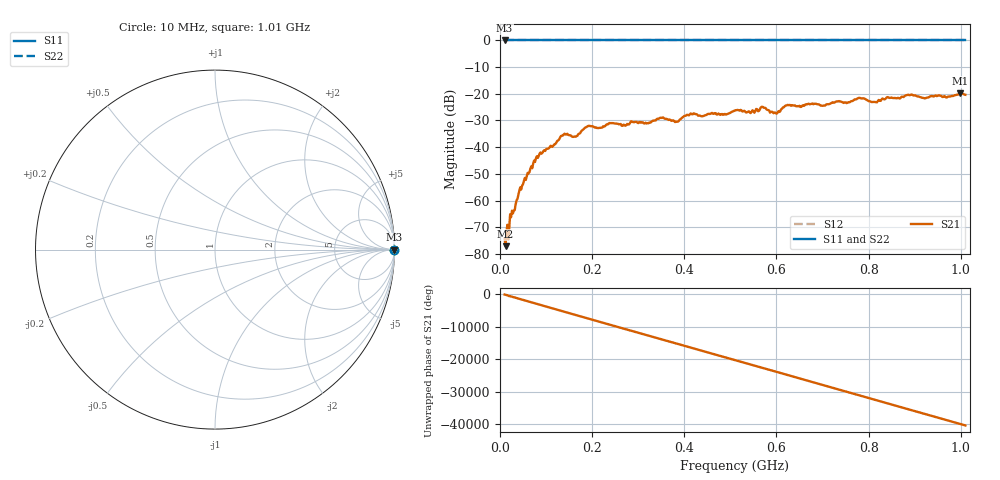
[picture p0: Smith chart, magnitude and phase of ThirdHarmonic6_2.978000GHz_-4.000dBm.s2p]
! 8/17/2025 8:27:00 AM
! C:\ANRITSUVNA\TEMP\TEMP.S2P
! CHANNEL.1
! TR.MEASUREMENT
! RAW.DATA
! RF.CORRECTION.OFF
! AVERAGING.OFF
! IF.BANDWIDTH: 5KHZ
! SWEEPTYPE:  FREQ.SWEEP(Linear)
! Reference Plane Port Info
! PORT:  PORT1  PORT2
! DISTANCE:  0  m  0  m
! TIME:  0  s  0  s
! PHASE.OFFSET:  0  deg.  0  deg.
! LOSS:  0  dB  0  dB
! REF.LOSS:  0  dB  0  dB
! REF.FREQ:  0  Hz  0  Hz
! Power Info
! POWER:  -20  dBm  -20  dBm
! EFF.POWER:  -20  dBm  -20  dBm
! SOURCE.ATTEN:  0  dB  0  dB
! TEST.ATTEN:  0  dB  0  dB
# GHZ S RI R 50.0
! FREQ.GHZ  S11RE  S11IM  S21RE  S21IM  S12RE  S12IM  S22RE  S22IM
!; PortSelection: Port_12
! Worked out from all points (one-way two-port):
!   501 points, 10 MHz to 1.01 GHz, reference 50 ohm
!   highest |S21| = -19.78 dB at 998 MHz (marker M1); lowest = -77.1 dB at 12 MHz (marker M2)
!   lowest |S11| = 0.0 dB at 10 MHz (marker M3)
!   |S11| at or under -10 dB: nowhere
!   |S22| runs from 0.0 to 0.0 dB; largest |S21 - S12| = 1.1
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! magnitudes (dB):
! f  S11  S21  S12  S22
! 10 MHz  0.0  -74.2  0.0  0.0
! 12 MHz  0.0  -77.1  0.0  0.0
! 16 MHz  0.0  -69.1  0.0  0.0
! 26 MHz  0.0  -63.8  0.0  0.0
! 44 MHz  0.0  -55.1  0.0  0.0
! 76 MHz  0.0  -45.6  0.0  0.0
! 136 MHz  0.0  -35.7  0.0  0.0
! 162 MHz  0.0  -36.0  0.0  0.0
! 178 MHz  0.0  -33.7  0.0  0.0
! 192 MHz  0.0  -32.0  0.0  0.0
! 322 MHz  0.0  -31.1  0.0  0.0
! 344 MHz  0.0  -29.4  0.0  0.0
! 384 MHz  0.0  -30.5  0.0  0.0
! 416 MHz  0.0  -27.6  0.0  0.0
! 510 MHz  0.0  -26.2  0.0  0.0
! 570 MHz  0.0  -24.9  0.0  0.0
! 598 MHz  0.0  -27.1  0.0  0.0
! 624 MHz  0.0  -24.1  0.0  0.0
! 678 MHz  0.0  -23.6  0.0  0.0
! 844 MHz  0.0  -21.5  0.0  0.0
! 998 MHz  0.0  -19.8  0.0  0.0
! 1.01 GHz  0.0  -20.4  0.0  0.0
